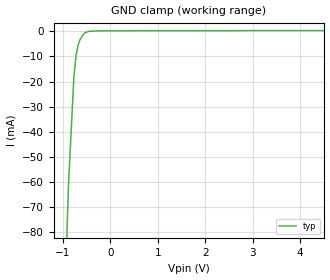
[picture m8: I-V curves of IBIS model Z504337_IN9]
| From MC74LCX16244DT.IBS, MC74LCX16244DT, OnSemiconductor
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| (C) COPYRIGHT 1993-2000
| MENTOR GRAPHICS CORPORATION
| ICX STANDARD LIBRARY, ICX PROJECT MODELING,
| ICX CUSTOM MODELING, ICX VENDOR MODEL
| ALL RIGHTS RESERVED.
| THE FOLLOWING ARE TRADEMARKS OR SERVICE MARKS OF
| MENTOR GRAPHICS CORPORATION:ICX (R), ICX STANDARD
| LIBRARY(R), ICX PROJECT MODELING(R), ICX CUSTOM
| MODELING(R), qualityIBIS(TM), MODELVIEWER(TM),
| AND MODELEDITOR(TM)
| ALL COPIES OF SOFTWARE, INCLUDING BUT NOT LIMITED TO
| ANY MODIFICATIONS, ENHANCEMENTS OR DERIVATIVE WORKS,
| MUST CONTAIN ALL MENTOR GRAPHICS CORPORATION'S
| NOTICES AND LEGENDS, INCLUDING THOSE EMBEDDED IN
| SOFTWARE AND THOSE AFFIXED TO SOFTWARE MEDIUM
| AND CONTAINER, AS RECEIVED FROM MENTOR GRAPHICS
| CORPORATION.
| Model Application Version 1.89 2/18/99.
[Model] Z504337_IN9
Model_type Input
Vinl = 800.0mV
Vinh = 2.000V
C_comp 4.000pF NA NA
| variable typ   min   max
[Voltage Range] 3.300V NA NA
[GND Clamp Reference] 0.000V NA NA
[POWER Clamp Reference] 3.300V NA NA
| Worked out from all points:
|   GND clamp passes 1 mA (typ) near -0.55 V on its own axis
[GND Clamp]
-3.3V     -1.842A    NA         NA
-1.006V   -133.3mA   NA         NA
-883.8mV  -60.96mA   NA         NA
-771.3mV  -18.36mA   NA         NA
-722.5mV  -9.375mA   NA         NA
-683.1mV  -5.62mA    NA         NA
-644.5mV  -3.511mA   NA         NA
-588.2mV  -1.674mA   NA         NA
-532.2mV  -581.7uA   NA         NA
-449.2mV  -6.144uA   NA         NA
-224.6mV  153.8uA    NA         NA
6.6V      274.2uA    NA         NA
[POWER Clamp]
-3.3V     0A         NA         NA
6.6V      0A         NA         NA
